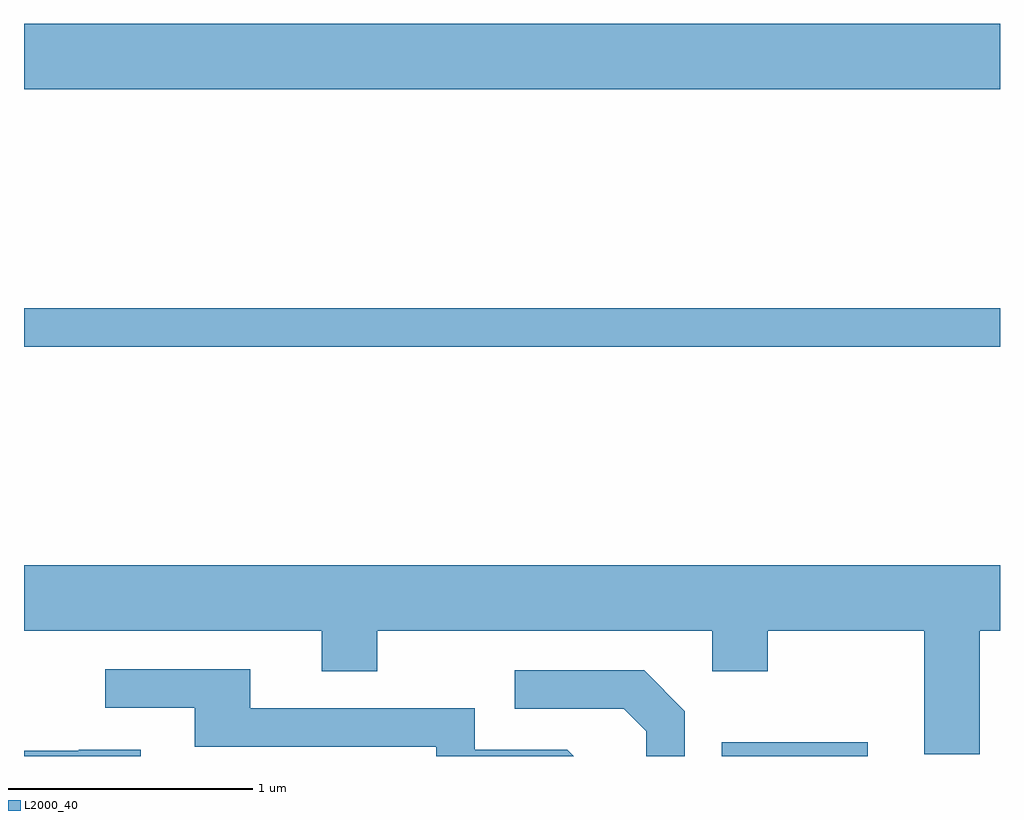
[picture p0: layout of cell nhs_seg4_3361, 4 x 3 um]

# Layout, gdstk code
import gdstk
lib = gdstk.Library(unit=1e-6, precision=1e-09)
def R(c, l, rs):  # rectangles x0, y0, x1, y1
    for r in rs: c.add(gdstk.rectangle(r[:2], r[2:], *l))
def P(c, l, *ps):  # polygons
    for p in ps: c.add(gdstk.Polygon(p, *l))
L2000_40 = (2000, 40)

nhs_seg4_3361 = lib.new_cell('nhs_seg4_3361')
R(nhs_seg4_3361, L2000_40, [(286.471,1311.982,287.069,1312.039), (283.611,1313.661,287.611,1313.819), (283.611,1314.716,287.611,1314.984)])
P(nhs_seg4_3361, L2000_40, [(287.529,1312.496),(287.611,1312.496),(287.611,1312.764),(283.611,1312.764),(283.611,1312.496),(284.831,1312.496),(284.831,1312.331),(285.059,1312.331),(285.059,1312.496),(286.431,1312.496),(286.431,1312.331),(286.659,1312.331),(286.659,1312.496),(287.301,1312.496),(287.301,1311.991),(287.529,1311.991)],
  [(285.837,1312.009),(285.459,1312.009),(285.459,1312.179),(284.539,1312.179),(284.539,1312.339),(283.943,1312.339),(283.943,1312.181),(284.311,1312.181),(284.311,1312.021),(285.301,1312.021),(285.301,1311.982),(285.864,1311.982)],
  [(286.319,1312.167),(286.152,1312.334),(285.623,1312.334),(285.623,1312.176),(286.069,1312.176),(286.161,1312.084),(286.161,1311.982),(286.319,1311.982)],
  [(284.089,1312.009),(283.835,1312.009),(283.835,1312.004),(283.611,1312.004),(283.611,1311.982),(284.089,1311.982)])

lib.write_gds('nhs_seg4_3361.gds')
